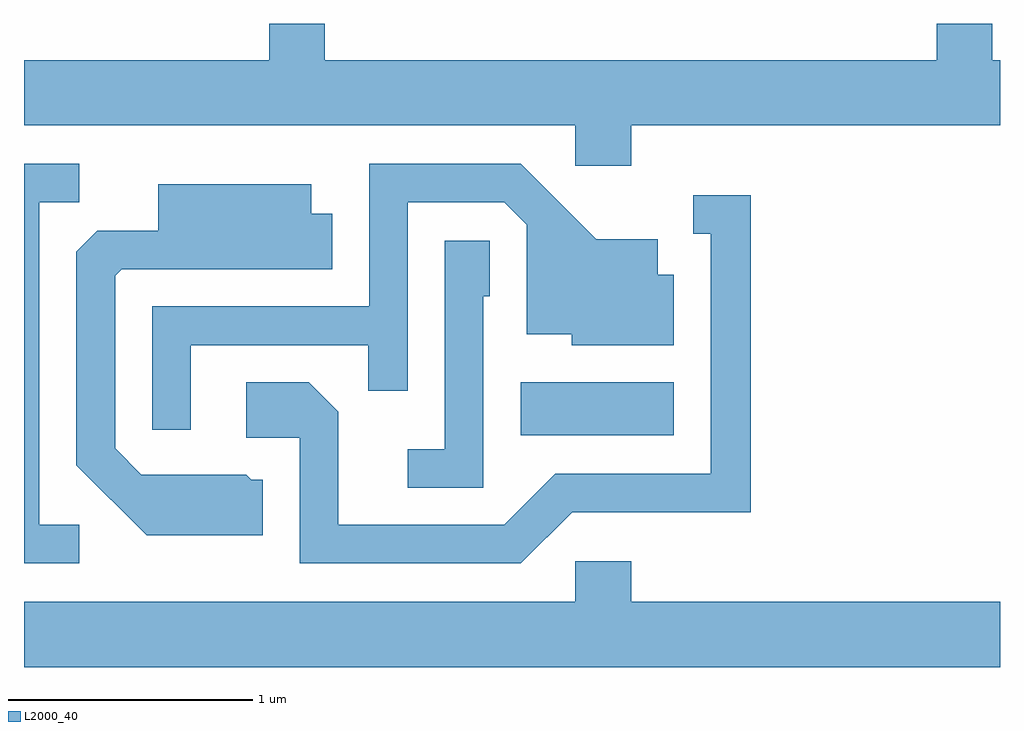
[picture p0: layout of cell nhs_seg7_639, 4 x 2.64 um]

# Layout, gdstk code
import gdstk
lib = gdstk.Library(unit=1e-6, precision=1e-09)
def R(c, l, rs):  # rectangles x0, y0, x1, y1
    for r in rs: c.add(gdstk.rectangle(r[:2], r[2:], *l))
def P(c, l, *ps):  # polygons
    for p in ps: c.add(gdstk.Polygon(p, *l))
L2000_40 = (2000, 40)

nhs_seg7_639 = lib.new_cell('nhs_seg7_639')
R(nhs_seg7_639, L2000_40, [(205.646,1748.566,206.274,1748.784)])
P(nhs_seg7_639, L2000_40, [(206.099,1749.836),(207.611,1749.836),(207.611,1750.104),(207.579,1750.104),(207.579,1750.252),(207.351,1750.252),(207.351,1750.104),(204.844,1750.104),(204.844,1750.252),(204.616,1750.252),(204.616,1750.104),(203.611,1750.104),(203.611,1749.836),(205.871,1749.836),(205.871,1749.671),(206.099,1749.671)],
  [(204.294,1748.936),(205.021,1748.936),(205.021,1748.748),(205.184,1748.748),(205.184,1749.521),(205.579,1749.521),(205.671,1749.429),(205.671,1748.981),(205.856,1748.981),(205.856,1748.936),(206.274,1748.936),(206.274,1749.224),(206.209,1749.224),(206.209,1749.369),(205.957,1749.369),(205.647,1749.679),(205.026,1749.679),(205.026,1749.094),(204.136,1749.094),(204.136,1748.588),(204.294,1748.588)],
  [(203.838,1748.199),(203.674,1748.199),(203.674,1749.521),(203.838,1749.521),(203.838,1749.679),(203.611,1749.679),(203.611,1748.041),(203.838,1748.041)],
  [(204.589,1748.384),(204.542,1748.384),(204.522,1748.404),(204.092,1748.404),(203.984,1748.512),(203.984,1749.219),(204.012,1749.246),(204.874,1749.246),(204.874,1749.474),(204.789,1749.474),(204.789,1749.594),(204.161,1749.594),(204.161,1749.404),(203.912,1749.404),(203.826,1749.319),(203.826,1748.444),(204.114,1748.156),(204.589,1748.156)],
  [(205.857,1748.251),(206.589,1748.251),(206.589,1749.549),(206.353,1749.549),(206.353,1749.391),(206.426,1749.391),(206.426,1748.409),(205.789,1748.409),(205.579,1748.199),(204.899,1748.199),(204.899,1748.662),(204.777,1748.784),(204.521,1748.784),(204.521,1748.556),(204.741,1748.556),(204.741,1748.041),(205.647,1748.041)],
  [(205.494,1749.136),(205.519,1749.136),(205.519,1749.364),(205.336,1749.364),(205.336,1748.509),(205.183,1748.509),(205.183,1748.351),(205.494,1748.351)],
  [(207.611,1747.884),(206.099,1747.884),(206.099,1748.049),(205.871,1748.049),(205.871,1747.884),(203.611,1747.884),(203.611,1747.616),(207.611,1747.616)])

lib.write_gds('nhs_seg7_639.gds')
